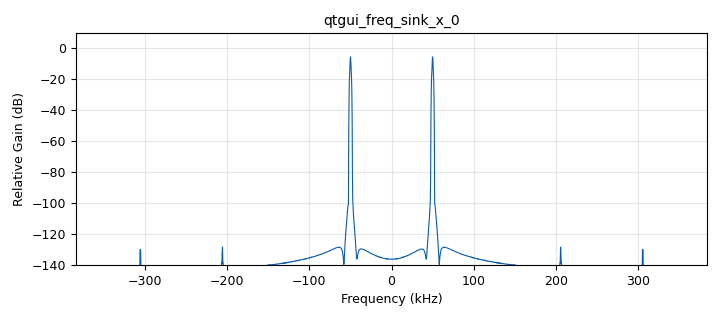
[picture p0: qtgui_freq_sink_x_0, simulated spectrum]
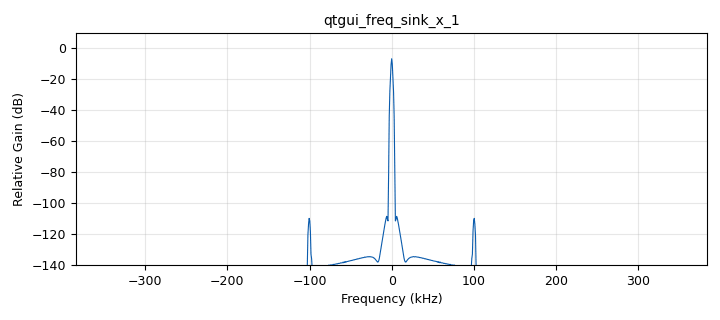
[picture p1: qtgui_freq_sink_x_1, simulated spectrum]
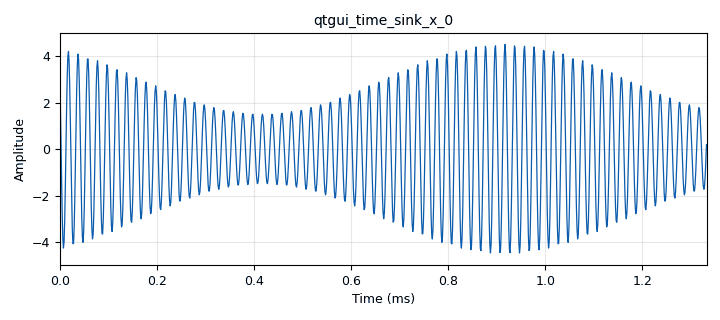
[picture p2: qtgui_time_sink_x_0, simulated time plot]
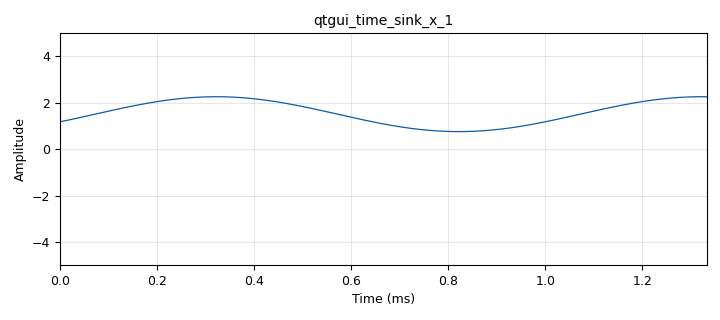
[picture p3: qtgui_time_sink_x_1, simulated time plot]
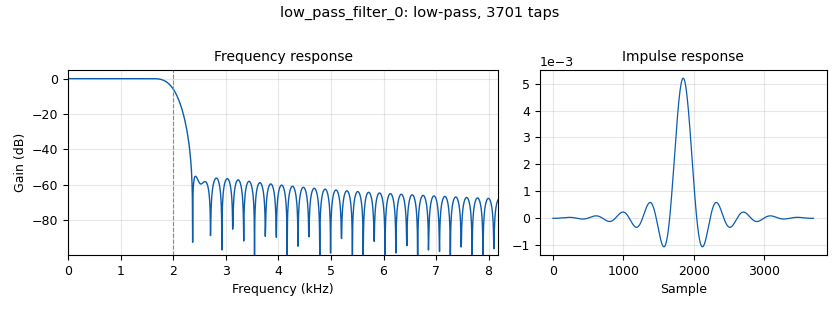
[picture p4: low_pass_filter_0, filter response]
options:
  parameters:
    author: Miguel Pinho
    generate_options: qt_gui
    id: lab1
    output_language: python
    title: Not titled yet
  states: {}

blocks:
- name: a1
  id: variable_qtgui_range
  parameters:
    start: '0.5'
    step: '0.1'
    stop: '2'
    value: '1'
  states: {}
- name: a2
  id: variable_qtgui_range
  parameters:
    start: '0'
    step: '0.001'
    stop: '0.05'
    value: '0'
  states: {}
- name: a3
  id: variable_qtgui_range
  parameters:
    start: '-0.02'
    step: '0.001'
    stop: '0'
    value: '0'
  states: {}
- name: m_index
  id: variable_qtgui_range
  parameters:
    start: '0'
    step: '0.1'
    stop: '2'
    value: '0.5'
  states: {}
- name: noise_voltage
  id: variable_qtgui_range
  parameters:
    start: '0'
    step: '0.01'
    stop: '0.5'
    value: '0'
  states: {}
- name: samp_rate
  id: variable
  parameters:
    value: '768000'
  states: {}
- name: analog_const_source_x_0
  id: analog_const_source_x
  parameters:
    const: '1'
    type: float
  states: {}
- name: analog_const_source_x_0_0
  id: analog_const_source_x
  parameters:
    const: '1'
    type: float
  states: {}
- name: analog_const_source_x_1
  id: analog_const_source_x
  parameters:
    const: '0'
    type: float
  states: {}
- name: analog_sig_source_x_0
  id: analog_sig_source_x
  parameters:
    amp: '1'
    freq: '1000'
    offset: '0'
    phase: '0'
    samp_rate: samp_rate
    type: float
    waveform: analog.GR_COS_WAVE
  states: {}
- name: analog_sig_source_x_0_0
  id: analog_sig_source_x
  parameters:
    amp: '3'
    freq: '50000'
    offset: '0'
    phase: '0'
    samp_rate: samp_rate
    type: float
    waveform: analog.GR_COS_WAVE
  states: {}
- name: analog_sig_source_x_0_1
  id: analog_sig_source_x
  parameters:
    amp: '1'
    freq: '50000'
    offset: '0'
    phase: 3.1416/2
    samp_rate: samp_rate
    type: float
    waveform: analog.GR_COS_WAVE
  states: {}
- name: analog_sig_source_x_0_1_0
  id: analog_sig_source_x
  parameters:
    amp: '1'
    freq: '50000'
    offset: '0'
    phase: '0'
    samp_rate: samp_rate
    type: float
    waveform: analog.GR_COS_WAVE
  states: {}
- name: audio_sink_0
  id: audio_sink
  parameters:
    samp_rate: '44100'
  states: {}
- name: blocks_add_xx_0
  id: blocks_add_xx
  parameters:
    type: float
  states: {}
- name: blocks_add_xx_1
  id: blocks_add_xx
  parameters:
    num_inputs: '3'
    type: float
  states: {}
- name: blocks_complex_to_float_0
  id: blocks_complex_to_float
  parameters: {}
  states: {}
- name: blocks_complex_to_mag_0
  id: blocks_complex_to_mag
  parameters: {}
  states: {}
- name: blocks_float_to_complex_0
  id: blocks_float_to_complex
  parameters: {}
  states: {}
- name: blocks_float_to_complex_1
  id: blocks_float_to_complex
  parameters: {}
  states: {}
- name: blocks_multiply_const_vxx_0
  id: blocks_multiply_const_vxx
  parameters:
    const: a1
    type: float
  states: {}
- name: blocks_multiply_const_vxx_0_0
  id: blocks_multiply_const_vxx
  parameters:
    const: m_index
    type: float
  states: {}
- name: blocks_multiply_const_vxx_0_1
  id: blocks_multiply_const_vxx
  parameters:
    const: a2
    type: float
  states: {}
- name: blocks_multiply_const_vxx_0_2
  id: blocks_multiply_const_vxx
  parameters:
    const: a3
    type: float
  states: {}
- name: blocks_multiply_xx_0_0
  id: blocks_multiply_xx
  parameters:
    type: float
  states: {}
- name: blocks_multiply_xx_0_0_0
  id: blocks_multiply_xx
  parameters:
    type: float
  states: {}
- name: blocks_multiply_xx_0_0_0_0
  id: blocks_multiply_xx
  parameters:
    type: float
  states: {}
- name: blocks_multiply_xx_0_0_0_1
  id: blocks_multiply_xx
  parameters:
    type: float
  states: {}
- name: blocks_multiply_xx_0_0_1
  id: blocks_multiply_xx
  parameters:
    type: float
  states: {}
- name: blocks_multiply_xx_0_0_1_0
  id: blocks_multiply_xx
  parameters:
    num_inputs: '3'
    type: float
  states: {}
- name: blocks_throttle2_0
  id: blocks_throttle2
  parameters:
    samples_per_second: samp_rate
    type: float
  states: {}
- name: blocks_wavfile_source_0
  id: blocks_wavfile_source
  parameters:
    file: C:\Users\migue\Downloads\Oasis_-_Wonderwall_(Official_Video).wav
    repeat: 'True'
  states: {state: disabled}
- name: channels_channel_model_0
  id: channels_channel_model
  parameters:
    epsilon: '1.0'
    freq_offset: '0.0'
    noise_voltage: noise_voltage
    seed: '0'
    taps: '1.0'
  states: {}
- name: low_pass_filter_0
  id: low_pass_filter
  parameters:
    cutoff_freq: '2000'
    gain: '1'
    interp: '1'
    samp_rate: samp_rate
    type: interp_fir_filter_fff
    width: '500'
    win: window.WIN_HAMMING
  states: {}
- name: low_pass_filter_0_0
  id: low_pass_filter
  parameters:
    cutoff_freq: '2000'
    gain: '1'
    interp: '1'
    samp_rate: samp_rate
    type: interp_fir_filter_fff
    width: '500'
    win: window.WIN_HAMMING
  states: {}
- name: low_pass_filter_0_0_0
  id: low_pass_filter
  parameters:
    cutoff_freq: '10000'
    gain: '1'
    interp: '1'
    samp_rate: samp_rate
    type: interp_fir_filter_fff
    width: '500'
    win: window.WIN_HAMMING
  states: {state: disabled}
- name: low_pass_filter_0_1
  id: low_pass_filter
  parameters:
    cutoff_freq: '10000'
    gain: '1'
    interp: '1'
    samp_rate: samp_rate
    type: interp_fir_filter_fff
    width: '500'
    win: window.WIN_HAMMING
  states: {state: disabled}
- name: note_0
  id: note
  parameters:
    note: AM TRANSMITTER
  states: {}
- name: note_0_0
  id: note
  parameters:
    note: BLOCK MODEL
  states: {}
- name: note_0_0_0
  id: note
  parameters:
    note: AM RECEIVER
  states: {}
- name: qtgui_freq_sink_x_0
  id: qtgui_freq_sink_x
  parameters:
    bw: samp_rate
    fc: '0'
    fftsize: '2048'
    type: float
  states: {}
- name: qtgui_freq_sink_x_1
  id: qtgui_freq_sink_x
  parameters:
    bw: samp_rate
    fc: '0'
    fftsize: '1024'
    type: float
  states: {}
- name: qtgui_time_sink_x_0
  id: qtgui_time_sink_x
  parameters:
    entags: 'False'
    size: '1024'
    srate: samp_rate
    type: float
    ymax: '5'
    ymin: '-5'
  states: {}
- name: qtgui_time_sink_x_1
  id: qtgui_time_sink_x
  parameters:
    size: '1024'
    srate: samp_rate
    type: float
    ymax: '5'
    ymin: '-5'
  states: {}
- name: rational_resampler_xxx_0
  id: rational_resampler_xxx
  parameters:
    decim: '2560'
    interp: '147'
    type: fff
  states: {}
- name: rational_resampler_xxx_0_0
  id: rational_resampler_xxx
  parameters:
    decim: '147'
    interp: '2560'
    type: fff
  states: {state: disabled}

connections:
- [analog_const_source_x_0, '0', blocks_add_xx_0, '1']
- [analog_const_source_x_0_0, '0', blocks_multiply_xx_0_0_0, '1']
- [analog_const_source_x_1, '0', blocks_float_to_complex_0, '1']
- [analog_sig_source_x_0, '0', blocks_throttle2_0, '0']
- [analog_sig_source_x_0, '0', rational_resampler_xxx_0_0, '0']
- [analog_sig_source_x_0_0, '0', blocks_multiply_xx_0_0, '1']
- [analog_sig_source_x_0_1, '0', blocks_multiply_xx_0_0_0_1, '1']
- [analog_sig_source_x_0_1_0, '0', blocks_multiply_xx_0_0_0_0, '1']
- [blocks_add_xx_0, '0', blocks_multiply_xx_0_0, '0']
- [blocks_add_xx_1, '0', blocks_float_to_complex_0, '0']
- [blocks_add_xx_1, '0', qtgui_freq_sink_x_0, '0']
- [blocks_add_xx_1, '0', qtgui_time_sink_x_0, '0']
- [blocks_complex_to_float_0, '0', blocks_multiply_xx_0_0_0, '0']
- [blocks_complex_to_mag_0, '0', qtgui_freq_sink_x_1, '0']
- [blocks_complex_to_mag_0, '0', qtgui_time_sink_x_1, '0']
- [blocks_complex_to_mag_0, '0', rational_resampler_xxx_0, '0']
- [blocks_float_to_complex_0, '0', channels_channel_model_0, '0']
- [blocks_float_to_complex_1, '0', blocks_complex_to_mag_0, '0']
- [blocks_multiply_const_vxx_0, '0', blocks_add_xx_1, '0']
- [blocks_multiply_const_vxx_0_0, '0', blocks_add_xx_0, '0']
- [blocks_multiply_const_vxx_0_1, '0', blocks_add_xx_1, '1']
- [blocks_multiply_const_vxx_0_2, '0', blocks_add_xx_1, '2']
- [blocks_multiply_xx_0_0, '0', blocks_multiply_const_vxx_0, '0']
- [blocks_multiply_xx_0_0, '0', blocks_multiply_xx_0_0_1, '0']
- [blocks_multiply_xx_0_0, '0', blocks_multiply_xx_0_0_1, '1']
- [blocks_multiply_xx_0_0, '0', blocks_multiply_xx_0_0_1_0, '0']
- [blocks_multiply_xx_0_0, '0', blocks_multiply_xx_0_0_1_0, '1']
- [blocks_multiply_xx_0_0, '0', blocks_multiply_xx_0_0_1_0, '2']
- [blocks_multiply_xx_0_0_0, '0', blocks_multiply_xx_0_0_0_0, '0']
- [blocks_multiply_xx_0_0_0, '0', blocks_multiply_xx_0_0_0_1, '0']
- [blocks_multiply_xx_0_0_0_0, '0', low_pass_filter_0_0, '0']
- [blocks_multiply_xx_0_0_0_0, '0', low_pass_filter_0_0_0, '0']
- [blocks_multiply_xx_0_0_0_1, '0', low_pass_filter_0, '0']
- [blocks_multiply_xx_0_0_0_1, '0', low_pass_filter_0_1, '0']
- [blocks_multiply_xx_0_0_1, '0', blocks_multiply_const_vxx_0_1, '0']
- [blocks_multiply_xx_0_0_1_0, '0', blocks_multiply_const_vxx_0_2, '0']
- [blocks_throttle2_0, '0', blocks_multiply_const_vxx_0_0, '0']
- [blocks_wavfile_source_0, '0', blocks_throttle2_0, '0']
- [blocks_wavfile_source_0, '0', rational_resampler_xxx_0_0, '0']
- [channels_channel_model_0, '0', blocks_complex_to_float_0, '0']
- [low_pass_filter_0, '0', blocks_float_to_complex_1, '1']
- [low_pass_filter_0_0, '0', blocks_float_to_complex_1, '0']
- [low_pass_filter_0_0_0, '0', blocks_float_to_complex_1, '0']
- [low_pass_filter_0_1, '0', blocks_float_to_complex_1, '1']
- [rational_resampler_xxx_0, '0', audio_sink_0, '0']
- [rational_resampler_xxx_0_0, '0', blocks_multiply_const_vxx_0_0, '0']

metadata:
  file_format: 1
  grc_version: 3.10.12.0
